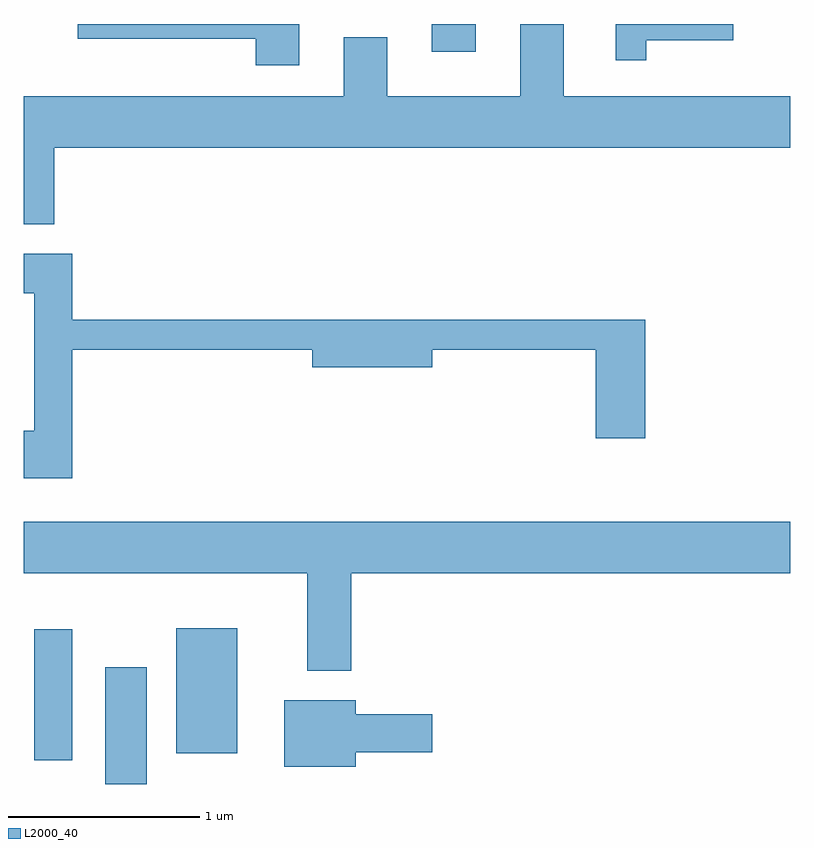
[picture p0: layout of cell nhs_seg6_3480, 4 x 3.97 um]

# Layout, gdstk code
import gdstk
lib = gdstk.Library(unit=1e-6, precision=1e-09)
def R(c, l, rs):  # rectangles x0, y0, x1, y1
    for r in rs: c.add(gdstk.rectangle(r[:2], r[2:], *l))
def P(c, l, *ps):  # polygons
    for p in ps: c.add(gdstk.Polygon(p, *l))
L2000_40 = (2000, 40)

nhs_seg6_3480 = lib.new_cell('nhs_seg6_3480')
R(nhs_seg6_3480, L2000_40, [(290.036,1622.196,290.254,1622.804), (289.666,1622.321,289.864,1623.004), (290.406,1622.356,290.724,1623.009), (291.741,1626.016,291.969,1626.162)])
P(nhs_seg6_3480, L2000_40, [(289.769,1625.516),(293.611,1625.516),(293.611,1625.784),(292.429,1625.784),(292.429,1626.162),(292.201,1626.162),(292.201,1625.784),(291.509,1625.784),(291.509,1626.094),(291.281,1626.094),(291.281,1625.784),(289.611,1625.784),(289.611,1625.116),(289.769,1625.116)],
  [(291.049,1626.162),(289.893,1626.162),(289.893,1626.086),(290.821,1626.086),(290.821,1625.946),(291.049,1625.946)],
  [(292.859,1626.076),(293.314,1626.076),(293.314,1626.162),(292.701,1626.162),(292.701,1625.973),(292.859,1625.973)],
  [(289.864,1624.461),(291.116,1624.461),(291.116,1624.371),(291.744,1624.371),(291.744,1624.461),(292.596,1624.461),(292.596,1624.001),(292.854,1624.001),(292.854,1624.619),(289.864,1624.619),(289.864,1624.964),(289.611,1624.964),(289.611,1624.756),(289.666,1624.756),(289.666,1624.039),(289.611,1624.039),(289.611,1623.791),(289.864,1623.791)],
  [(291.319,1623.296),(293.611,1623.296),(293.611,1623.564),(289.611,1623.564),(289.611,1623.296),(291.091,1623.296),(291.091,1622.786),(291.319,1622.786)],
  [(291.344,1622.361),(291.744,1622.361),(291.744,1622.559),(291.344,1622.559),(291.344,1622.634),(290.971,1622.634),(290.971,1622.286),(291.344,1622.286)])

lib.write_gds('nhs_seg6_3480.gds')
